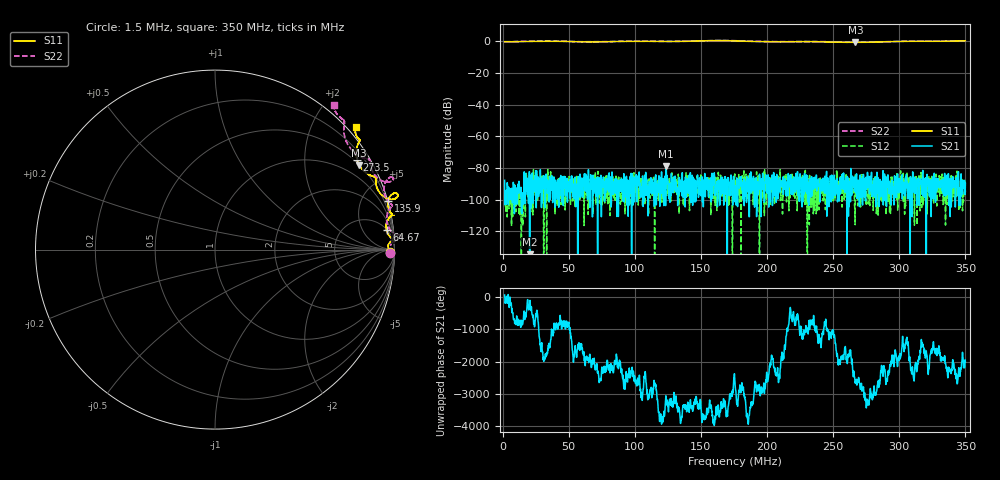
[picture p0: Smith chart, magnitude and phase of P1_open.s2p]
# Hz S RI R 50
! RAW DATA - UNCALIBRATED
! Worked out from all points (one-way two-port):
!   1601 points, 1.5 MHz to 350 MHz, reference 50 ohm
!   highest |S21| = -78.82 dB at 123.7 MHz (marker M1); lowest = -186.8 dB at 20.45 MHz (marker M2)
!   lowest |S11| = -0.6 dB at 266.8 MHz (marker M3), VSWR 28.09, Z = 25.6 + j181 ohm
!   |S11| at or under -10 dB: nowhere
!   |S22| runs from -0.5 to 0.6 dB; largest |S21 - S12| = 0.00012
!   S11 on the Smith chart (normalised r, x): 1.5 MHz: 63, -39; 64.67 MHz: 6, +16; 135.9 MHz: -0.03, +7.28; 273.5 MHz: 0.42, +3.40; 350 MHz: -0.17, +2.68
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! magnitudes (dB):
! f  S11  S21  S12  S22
! 1.5 MHz  -0.2  -87.8  -99.0  -0.2
! 8.688 MHz  -0.3  -93.2  -97.6  -0.1
! 20.45 MHz  0.0  -186.8  -90.1  0.1
! 28.29 MHz  0.0  -95.4  -89.1  0.3
! 35.26 MHz  0.1  -101.4  -86.8  0.4
! 59.66 MHz  -0.3  -91.8  -95.8  -0.2
! 64.67 MHz  -0.3  -92.4  -109.3  -0.3
! 74.25 MHz  -0.3  -84.6  -103.9  -0.2
! 98.43 MHz  0.1  -103.4  -87.4  0.1
! 117.8 MHz  0.0  -88.6  -90.5  0.0
! 123.7 MHz  0.0  -78.8  -93.2  0.0
! 135.9 MHz  0.0  -83.0  -92.6  0.0
! 160.3 MHz  0.5  -85.3  -92.0  0.6
! 175.8 MHz  0.4  -101.4  -97.2  0.5
! 202.1 MHz  -0.3  -101.7  -103.1  -0.1
! 233.9 MHz  -0.2  -97.5  -91.7  0.0
! 266.8 MHz  -0.6  -90.4  -83.6  -0.5
! 273.5 MHz  -0.6  -98.4  -93.2  -0.5
! 292.1 MHz  -0.2  -88.2  -97.4  -0.1
! 307.1 MHz  0.1  -94.6  -90.2  0.1
! 333.7 MHz  0.1  -89.3  -94.4  0.1
! 350 MHz  0.4  -89.7  -95.4  0.4
